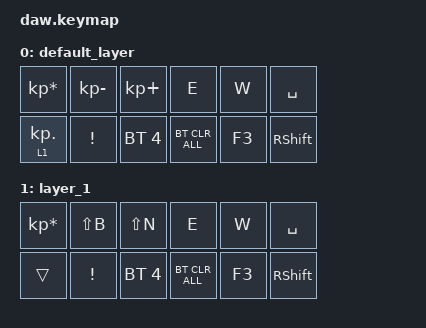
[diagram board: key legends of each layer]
#include <behaviors.dtsi>
#include <dt-bindings/zmk/bt.h>

/ {
    keymap {
        compatible = "zmk,keymap";

	    default_layer {
            bindings = <
                &kp KP_ASTERISK  &kp KP_MINUS     &kp KP_PLUS   &kp E           &kp W   &kp SPACE
                &lt 1 KP_DOT     &kp EXCLAMATION  &bt BT_SEL 4  &bt BT_CLR_ALL  &kp F3  &kp RSHIFT
	        >;
	    };

        layer_1 {
            bindings = <
                &kp KP_ASTERISK  &kp LS(B)        &kp LS(N)     &kp E           &kp W   &kp SPACE
                &trans           &kp EXCLAMATION  &bt BT_SEL 4  &bt BT_CLR_ALL  &kp F3  &kp RSHIFT
	        >;
	    };
    };
};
